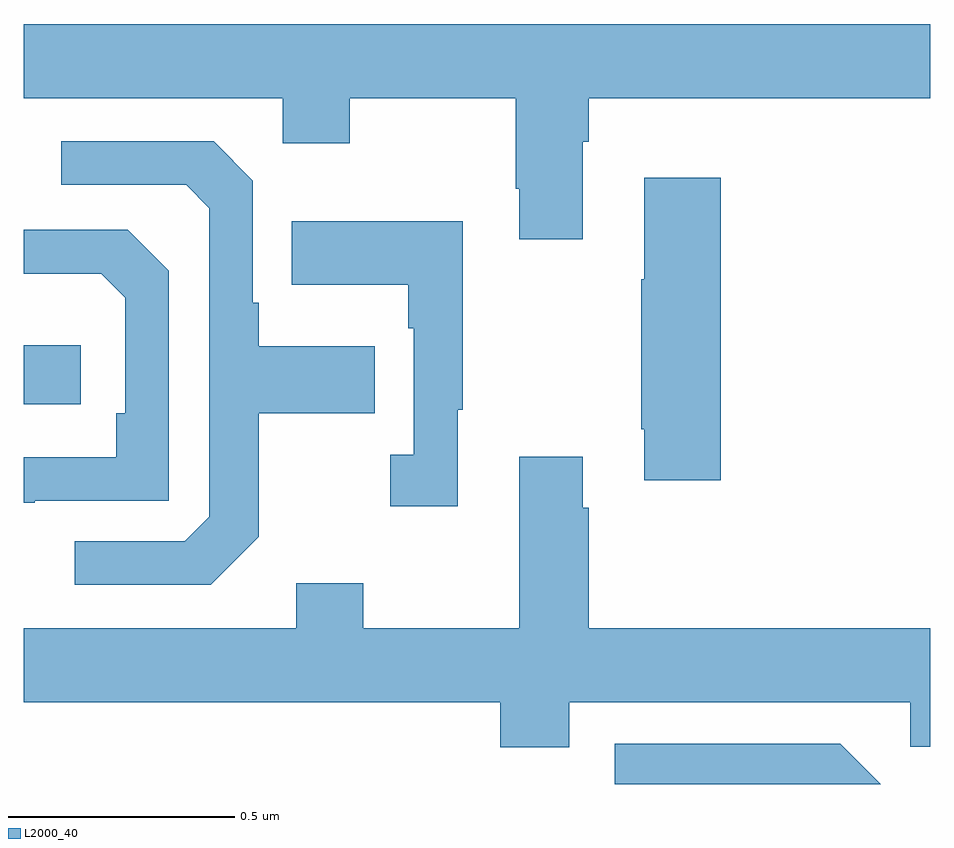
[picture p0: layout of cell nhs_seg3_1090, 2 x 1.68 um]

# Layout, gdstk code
import gdstk
lib = gdstk.Library(unit=1e-6, precision=1e-09)
def R(c, l, rs):  # rectangles x0, y0, x1, y1
    for r in rs: c.add(gdstk.rectangle(r[:2], r[2:], *l))
def P(c, l, *ps):  # polygons
    for p in ps: c.add(gdstk.Polygon(p, *l))
L2000_40 = (2000, 40)

nhs_seg3_1090 = lib.new_cell('nhs_seg3_1090')
R(nhs_seg3_1090, L2000_40, [(124,704.238,124.126,704.368)])
P(nhs_seg3_1090, L2000_40, [(125.233,704.816),(125.246,704.816),(125.246,704.912),(126,704.912),(126,705.076),(124,705.076),(124,704.912),(124.572,704.912),(124.572,704.813),(124.719,704.813),(124.719,704.912),(125.086,704.912),(125.086,704.713),(125.093,704.713),(125.093,704.601),(125.233,704.601)],
  [(124.519,703.945),(124.519,704.218),(124.775,704.218),(124.775,704.365),(124.519,704.365),(124.519,704.461),(124.506,704.461),(124.506,704.73),(124.419,704.817),(124.083,704.817),(124.083,704.721),(124.359,704.721),(124.41,704.67),(124.41,703.989),(124.356,703.935),(124.113,703.935),(124.113,703.839),(124.413,703.839)],
  [(125.537,704.737),(125.369,704.737),(125.369,704.513),(125.362,704.513),(125.362,704.182),(125.369,704.182),(125.369,704.07),(125.537,704.07)],
  [(124.957,704.225),(124.969,704.225),(124.969,704.641),(124.591,704.641),(124.591,704.501),(124.848,704.501),(124.848,704.405),(124.86,704.405),(124.86,704.126),(124.809,704.126),(124.809,704.013),(124.957,704.013)],
  [(124.025,704.025),(124.32,704.025),(124.32,704.532),(124.23,704.622),(124,704.622),(124,704.525),(124.171,704.525),(124.224,704.472),(124.224,704.218),(124.204,704.218),(124.204,704.121),(124,704.121),(124,704.02),(124.025,704.02)],
  [(125.203,703.58),(125.955,703.58),(125.955,703.482),(126,703.482),(126,703.744),(125.246,703.744),(125.246,704.009),(125.233,704.009),(125.233,704.122),(125.093,704.122),(125.093,703.744),(124.749,703.744),(124.749,703.843),(124.601,703.843),(124.601,703.744),(124,703.744),(124,703.58),(125.051,703.58),(125.051,703.481),(125.203,703.481)],
  [(125.801,703.489),(125.304,703.489),(125.304,703.4),(125.89,703.4)])

lib.write_gds('nhs_seg3_1090.gds')
